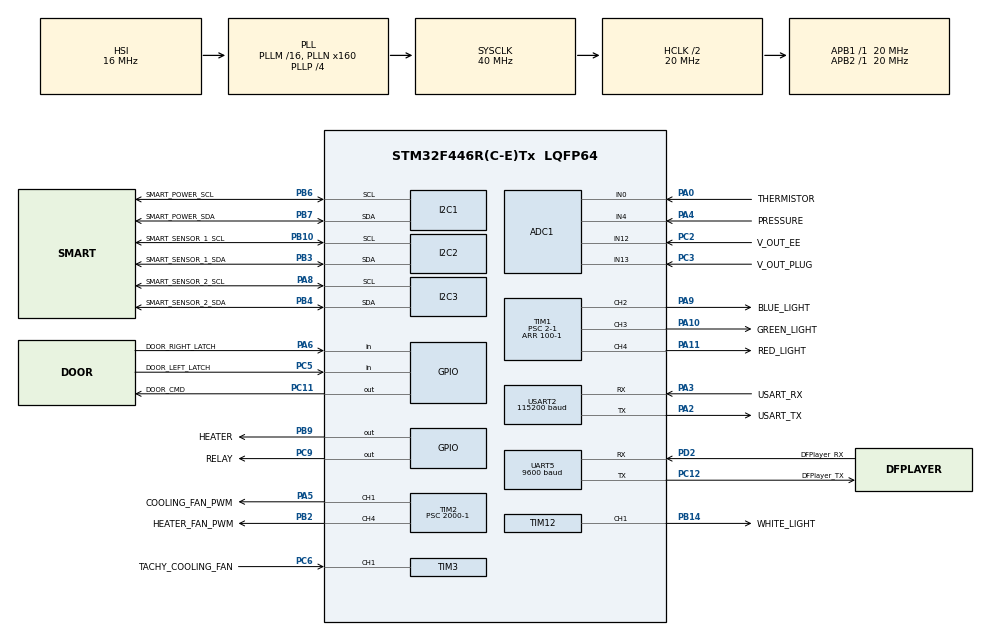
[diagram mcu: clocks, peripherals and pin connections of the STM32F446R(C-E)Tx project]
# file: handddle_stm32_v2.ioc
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ADC1.Channel-1\#ChannelRegularConversion=ADC_CHANNEL_0
ADC1.NbrOfConversionFlag=1
ADC1.Rank-1\#ChannelRegularConversion=1
ADC1.SamplingTime-1\#ChannelRegularConversion=ADC_SAMPLETIME_3CYCLES
ADC1.master=1
Mcu.Family=STM32F4
Mcu.Name=STM32F446R(C-E)Tx
Mcu.Package=LQFP64
NVIC.PriorityGroup=NVIC_PRIORITYGROUP_0
NVIC.TIM1_BRK_TIM9_IRQn=true\:0\:0\:false\:false\:true\:true\:true
NVIC.TIM3_IRQn=true\:0\:0\:false\:false\:true\:true\:true
NVIC.TIM4_IRQn=true\:0\:0\:false\:false\:true\:true\:true
NVIC.TIM5_IRQn=true\:0\:0\:false\:false\:true\:true\:true
NVIC.TIM6_DAC_IRQn=true\:0\:0\:false\:false\:true\:true\:true
NVIC.TIM7_IRQn=true\:0\:0\:false\:false\:true\:true\:true
NVIC.UART5_IRQn=true\:0\:0\:false\:false\:true\:true\:true
NVIC.USART2_IRQn=true\:0\:0\:false\:false\:true\:true\:true
PA0-WKUP.GPIO_Label=THERMISTOR
PA0-WKUP.Signal=ADCx_IN0
PA10.GPIO_Label=GREEN_LIGHT
PA10.Signal=S_TIM1_CH3
PA11.GPIO_Label=RED_LIGHT
PA11.Signal=S_TIM1_CH4
PA2.GPIO_Label=USART_TX
PA2.Mode=Asynchronous
PA2.Signal=USART2_TX
PA3.GPIO_Label=USART_RX
PA3.Mode=Asynchronous
PA3.Signal=USART2_RX
PA4.GPIO_Label=PRESSURE
PA4.Signal=ADCx_IN4
PA5.GPIO_Label=COOLING_FAN_PWM
PA5.Signal=S_TIM2_CH1_ETR
PA6.GPIO_Label=DOOR_RIGHT_LATCH
PA6.Signal=GPIO_Input
PA8.GPIO_Label=SMART_SENSOR_2_SCL
PA8.Mode=I2C
PA8.Signal=I2C3_SCL
PA9.GPIO_Label=BLUE_LIGHT
PA9.Signal=S_TIM1_CH2
PB10.GPIO_Label=SMART_SENSOR_1_SCL
PB10.Mode=I2C
PB10.Signal=I2C2_SCL
PB14.GPIO_Label=WHITE_LIGHT
PB14.Signal=S_TIM12_CH1
PB2.GPIO_Label=HEATER_FAN_PWM
PB2.Signal=S_TIM2_CH4
PB3.GPIO_Label=SMART_SENSOR_1_SDA
PB3.Mode=I2C
PB3.Signal=I2C2_SDA
PB4.GPIO_Label=SMART_SENSOR_2_SDA
PB4.Mode=I2C
PB4.Signal=I2C3_SDA
PB6.GPIO_Label=SMART_POWER_SCL
PB6.Mode=I2C
PB6.Signal=I2C1_SCL
PB7.GPIO_Label=SMART_POWER_SDA
PB7.Mode=I2C
PB7.Signal=I2C1_SDA
PB9.GPIO_Label=HEATER
PB9.Signal=GPIO_Output
PC11.GPIO_Label=DOOR_CMD
PC11.Signal=GPIO_Output
PC12.GPIO_Label=DFPlayer_TX
PC12.Mode=Asynchronous
PC12.Signal=UART5_TX
PC2.GPIO_Label=V_OUT_EE
PC2.Signal=ADCx_IN12
PC3.GPIO_Label=V_OUT_PLUG
PC3.Signal=ADCx_IN13
PC5.GPIO_Label=DOOR_LEFT_LATCH
PC5.Signal=GPIO_Input
PC6.GPIO_Label=TACHY_COOLING_FAN
PC6.Signal=S_TIM3_CH1
PC9.GPIO_Label=RELAY
PC9.Signal=GPIO_Output
PD2.GPIO_Label=DFPlayer_RX
PD2.Mode=Asynchronous
PD2.Signal=UART5_RX
ProjectManager.HeapSize=0x200
ProjectManager.StackSize=0x400
ProjectManager.TargetToolchain=STM32CubeIDE
RCC.48MHZClocksFreq_Value=84000000
RCC.AHBCLKDivider=RCC_SYSCLK_DIV2
RCC.AHBFreq_Value=20000000
RCC.APB1Freq_Value=20000000
RCC.APB1TimFreq_Value=20000000
RCC.APB2Freq_Value=20000000
RCC.APB2TimFreq_Value=20000000
RCC.CortexFreq_Value=20000000
RCC.FLatency-AdvancedSettings=FLASH_LATENCY_0
RCC.HCLKFreq_Value=20000000
RCC.HSE_VALUE=8000000
RCC.HSI_VALUE=16000000
RCC.PLLN=160
RCC.PLLP=RCC_PLLP_DIV4
RCC.SYSCLKFreq_VALUE=40000000
RCC.SYSCLKSource=RCC_SYSCLKSOURCE_PLLCLK
RCC.USBFreq_Value=80000000
RCC.VCOOutputFreq_Value=160000000
SH.ADCx_IN0.0=ADC1_IN0,IN0
SH.ADCx_IN12.0=ADC1_IN12,IN12
SH.ADCx_IN13.0=ADC1_IN13,IN13
SH.ADCx_IN4.0=ADC1_IN4,IN4
SH.S_TIM12_CH1.0=TIM12_CH1,PWM Generation1 CH1
SH.S_TIM1_CH2.0=TIM1_CH2,PWM Generation2 CH2
SH.S_TIM1_CH3.0=TIM1_CH3,PWM Generation3 CH3
SH.S_TIM1_CH4.0=TIM1_CH4,PWM Generation4 CH4
SH.S_TIM2_CH1_ETR.0=TIM2_CH1,PWM Generation1 CH1
SH.S_TIM2_CH4.0=TIM2_CH4,PWM Generation4 CH4
SH.S_TIM3_CH1.0=TIM3_CH1,Input_Capture1_from_TI1
TIM1.Channel-PWM\ Generation2\ CH2=TIM_CHANNEL_2
TIM1.Channel-PWM\ Generation3\ CH3=TIM_CHANNEL_3
TIM1.Channel-PWM\ Generation4\ CH4=TIM_CHANNEL_4
TIM1.Period=100-1
TIM1.Prescaler=2-1
TIM12.Channel-PWM\ Generation1\ CH1=TIM_CHANNEL_1
TIM12.Period=100-1
TIM12.Prescaler=2-1
TIM2.Channel-PWM\ Generation1\ CH1=TIM_CHANNEL_1
TIM2.Channel-PWM\ Generation4\ CH4=TIM_CHANNEL_4
TIM2.Period=100-1
TIM2.Prescaler=2000-1
TIM3.Channel-Input_Capture1_from_TI1=TIM_CHANNEL_1
TIM3.Period=0xFFFF
TIM3.Prescaler=2000-1
TIM4.Period=10000-1
TIM4.Prescaler=2000-1
TIM5.Period=10000-1
TIM5.Prescaler=20-1
TIM6.Period=1000-1
TIM6.Prescaler=20-1
TIM7.Period=10000-1
TIM7.Prescaler=2000-1
TIM9.Period=50000-1
TIM9.Prescaler=20-1
UART5.BaudRate=9600
UART5.VirtualMode=Asynchronous
USART2.BaudRate=115200
USART2.VirtualMode=VM_ASYNC
VP_TIM1_VS_ClockSourceINT.Mode=Internal
VP_TIM4_VS_ClockSourceINT.Mode=Internal
VP_TIM5_VS_ClockSourceINT.Mode=Internal
VP_TIM6_VS_ClockSourceINT.Mode=Enable_Timer
VP_TIM7_VS_ClockSourceINT.Mode=Enable_Timer
VP_TIM9_VS_ClockSourceINT.Mode=Internal
board=NUCLEO-F446RE

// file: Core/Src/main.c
/* USER CODE BEGIN Header */
/**
 ******************************************************************************
 * @file           : main.c
 * @brief          : Main program body
 ******************************************************************************
 * @attention
 *
 * <h2><center>&copy; Copyright (c) 2022 STMicroelectronics.
 * All rights reserved.</center></h2>
 *
 * This software component is licensed by ST under BSD 3-Clause license,
 * the "License"; You may not use this file except in compliance with the
 * License. You may obtain a copy of the License at:
 *                        opensource.org/licenses/BSD-3-Clause
 *
 ******************************************************************************
 */
/* USER CODE END Header */
#include "main.h"

/* USER CODE BEGIN Includes */
#include "defines.h"
#include "functions.h"
#include "extern_variables.h"

#include "../../Transport/Parser/parser.h"
#include "../../Transport/Msg_gen/Sec_msg_gen/sec_msg_gen.h"
#include "../../Transport/Msg_gen/Main_msg_gen/main_msg_gen.h"
#include "../../Transport/Msg_gen/Error_msg_gen/error_msg_gen.h"

#include "../../Lib/Inc/cooling_fan.h"
#include "../../Lib/Inc/heater_fan.h"
#include "../../Lib/Inc/lights.h"
#include "../../Lib/Inc/sound_module.h"
#include "../../Lib/Inc/door.h"
#include "../../Lib/Inc/i2c.h"
#include "../../Lib/Inc/pressure.h"
#include "../../Lib/Inc/thermistor.h"
#include "../../Lib/Inc/gas_index_algorithm.h"
#include "../../Lib/Inc/relay.h"
#include "../../Lib/Inc/current.h"
//#include "../../Lib/Inc/ACS.h"
/* USER CODE END Includes */

ADC_HandleTypeDef hadc1;

I2C_HandleTypeDef hi2c1;
I2C_HandleTypeDef hi2c2;
I2C_HandleTypeDef hi2c3;

TIM_HandleTypeDef htim1;
TIM_HandleTypeDef htim2;
TIM_HandleTypeDef htim3;
TIM_HandleTypeDef htim4;
TIM_HandleTypeDef htim5;
TIM_HandleTypeDef htim6;
TIM_HandleTypeDef htim7;
TIM_HandleTypeDef htim9;
TIM_HandleTypeDef htim12;

UART_HandleTypeDef huart5;
UART_HandleTypeDef huart2;

void SystemClock_Config(void);
static void MX_GPIO_Init(void);
static void MX_USART2_UART_Init(void);
static void MX_TIM4_Init(void);
static void MX_TIM2_Init(void);
static void MX_TIM3_Init(void);
static void MX_TIM1_Init(void);
static void MX_TIM12_Init(void);
static void MX_UART5_Init(void);
static void MX_TIM7_Init(void);
static void MX_ADC1_Init(void);
static void MX_I2C1_Init(void);
static void MX_TIM9_Init(void);
static void MX_I2C2_Init(void);
static void MX_I2C3_Init(void);
static void MX_TIM5_Init(void);
static void MX_TIM6_Init(void);

/* USER CODE BEGIN 0 */

// Buffer used to store received bytes from the Jetson card
uint8_t rx_buffer[MSG_SIZE];

// Buffer used with the sound module
uint8_t rx_buffer2[MSG_SIZE];

uint64_t last_watchdog_time = 0;
bool watchdog_actived = false; 	//extern
bool watchdog_update = false;	//extern
bool var_toggle = false;

// Variable used to be increment at each tick of timer 4 (main)
uint64_t var_timer_4_tick = 0;
// Variable used to be increment at each tick of timer 7 (door)
uint64_t var_timer_7_tick = 0;
// Variable used to be true at each tick of timer 9 (50ms)
bool var_timer_9_tick = 0;

//send messages
bool send_messages = false;
bool get_i2c_values = false;

//fans
uint8_t pwm_cooling_fan = 0;
uint8_t pwm_heater_fan = 0;
int cooling_frq;// for PWM of fans
int cooling_rpm;// for PWM of fans

//light color
uint8_t led_color = 0;
uint8_t previous_led_color = 0;
uint8_t led_color_buffer = 0;
bool fade_on = false;
bool previous_fade_on = false;
bool static_light = true;

//sound module
//extern
bool sm_next = false;
bool sm_pause = false;
bool sm_stop = false;
bool sm_playback = false;
bool sm_previous = false;
uint8_t sm_volume = 20; // default volume
uint8_t previous_sm_volume = 0;
uint8_t sm_eq = 0;
uint8_t previous_sm_eq;
uint8_t sm_track = 0;
uint8_t previous_sm_track = 0;
bool sm_repeat = false;

bool uart2_irq_is_captured = false;
bool uart5_irq_is_captured = false;

//door
bool door_init;
bool door_state;
bool previous_door_state;
bool door_closure = false;
bool door_opening = false;
bool left_latch_error, right_latch_error;
bool left_latch_state, right_latch_state;

//thermistor
ntc_thermistor_values ntc_values;
uint16_t adc_temperature_raw_value;

//pressure
uint16_t pressure = 0;

//temperature, humidity : Smart Power
struct_sht40 temp_humi_SP;

//temperature, humidity : Smart Sensor n°1
struct_sht40 temp_humi_SS_1;

//temperature, humidity : Smart Sensor n°2
struct_sht40 temp_humi_SS_2;

//SEN5X datas : PM1, PM2.5, PM4, PM10, Temperature, Humidity, VOC Index and NOx Index
struct_sen5x sen5x_values;

//UART return value
HAL_StatusTypeDef return_value_SP, return_value_SS_1, return_value_SS_2, return_value_sen_5x;

//temperature
uint8_t desired_temperature = 0;
bool heater_activated = false;
float average_temperature = 0, average_humidity = 0;

//Sgp41
HAL_StatusTypeDef sgp41_return_value;
struct_sgp41 pollution_data;
GasIndexAlgorithmParams params_voc;
GasIndexAlgorithmParams params_nox;
int32_t voc_index_value;
int32_t nox_index_value;
uint16_t sraw_voc;
uint16_t sraw_nox;
uint8_t sgp41_timer_init = 0;
uint8_t sgp41_timer_feeding = 0;
bool sgp41_tick = true;

//relay
bool relay_command = RELAY_ON;

//Sytem
bool system_on_off = SYSTEM_ON;
uint8_t led_color_system_off = DARK;

/* USER CODE END 0 */

int main(void)
{

	/* MCU Configuration--------------------------------------------------------*/

	/* Reset of all peripherals, Initializes the Flash interface and the Systick. */
	HAL_Init();

	/* Configure the system clock */
	SystemClock_Config();

	/* Initialize all configured peripherals */
	MX_GPIO_Init();
	MX_USART2_UART_Init();
	MX_TIM4_Init();
	MX_TIM2_Init();
	MX_TIM3_Init();
	MX_TIM1_Init();
	MX_TIM12_Init();
	MX_UART5_Init();
	MX_TIM7_Init();
	MX_ADC1_Init();
	MX_I2C1_Init();
	MX_TIM9_Init();
	MX_I2C2_Init();
	MX_I2C3_Init();
	MX_TIM5_Init();
	MX_TIM6_Init();
	/* USER CODE BEGIN 2 */

	/*     SMART LIGHT    */
	//RED -- TIMER 1 CH4
	HAL_TIM_PWM_Start(&htim1, TIM_CHANNEL_4);
	//GREEN -- TIMER 1 CH3
	HAL_TIM_PWM_Start(&htim1, TIM_CHANNEL_3);
	//BLUE TIMER 1 CH2
	HAL_TIM_PWM_Start(&htim1, TIM_CHANNEL_2);
	//WHITE -- TIMER 12 - CH1
	HAL_TIM_PWM_Start(&htim12, TIM_CHANNEL_1);

	//Timers for PWM
	HAL_TIM_PWM_Start(&htim2, TIM_CHANNEL_1); // For PWM cooling fan
	HAL_TIM_PWM_Start(&htim2, TIM_CHANNEL_4); // For PWM heater fan
	HAL_TIM_IC_Start_IT(&htim3, TIM_CHANNEL_1); // To get tachymeter frequency

	set_cooling_fan_pwm(PWM_STOP, &htim2);
	set_heater_fan_pwm(PWM_STOP, &htim2);

	// Main timer ticks each second
	HAL_TIM_Base_Start_IT(&htim4);

	// Timer ticks each 10ms
	HAL_TIM_Base_Start_IT(&htim5);

	// Timer ticks each 1 ms
	HAL_TIM_Base_Start_IT(&htim6);

	// Timer ticks each 50ms (i2c)
	//  HAL_TIM_Base_Start_IT(&htim9);

	// Start UART reception
	HAL_UART_Receive_IT(&huart2, rx_buffer, MSG_SIZE);
	HAL_UART_Receive_IT(&huart5, rx_buffer2, MSG_SIZE);
	//Ack value send to the Jetson Nano
	send_cmd_ack_with_value(&huart2, DEFAULT_ACK_VALUE);

	// Led color
	if((MSG_HEADER_UID_1_TYPOLOGY == TYPE_MACHINE_RACK) || (MSG_HEADER_UID_1_TYPOLOGY == TYPE_MACHINE_ROOF))
	{
		led_color = WHITE;
		previous_led_color = WHITE;
		led_color_buffer = WHITE;
	} else if(MSG_HEADER_UID_1_TYPOLOGY == TYPE_POST_TREATMENT)
	{
		led_color =  WHITE_PT;
		previous_led_color = WHITE_PT;
		led_color_buffer = WHITE_PT;
	}

	send_main_msg_led_color(led_color, &huart2);

	//sound module
	//local
	previous_sm_volume = sm_volume;
	previous_sm_eq = sm_eq;
	previous_sm_track = sm_track;
	sm_init(sm_volume);

	//door
	if(MSG_HEADER_UID_1_TYPOLOGY == TYPE_MACHINE_ROOF || MSG_HEADER_UID_1_TYPOLOGY == TYPE_POST_TREATMENT)
	{
		door_command = LOCKED;
		set_door_lock(door_command); //default: door opened

		if(get_latches_state() == PRESENT)
		{
			door_state = CLOSED;
			previous_door_state = CLOSED;
			door_init = false;
		} else
		{
			door_state = OPENED;
			previous_door_state = OPENED;
			door_init = true;
		}

		send_main_msg_door_state(door_state, &huart2);
	}

	//sgp41 INIT
	GasIndexAlgorithm_init(&params_voc, GasIndexAlgorithm_ALGORITHM_TYPE_VOC);
	GasIndexAlgorithm_init(&params_nox, GasIndexAlgorithm_ALGORITHM_TYPE_NOX);

	//relay : default always activate
	set_relay_on(relay_command);

	write_frame_sen5x(&hi2c2, SEN5X_COMMAND_START_MEASUREMENT);

	/* USER CODE END 2 */

	/* Infinite loop */
	/* USER CODE BEGIN WHILE */
	while (1)
	{
		/*
		 * SYSTEM
		 */
		if(system_on_off == SYSTEM_ON)
		{
			/*
			 * 		Apply functions
			 */
			set_cooling_fan_pwm(pwm_cooling_fan, &htim2);
			set_heater_fan_pwm(pwm_heater_fan, &htim2);
			set_heater(heater_activated);
			if(static_light) set_lights(led_color);
			else if(!static_light && fade_on)
			{
				fade_on = false;
				fade(led_color);
			}
			set_door_lock(door_command);
			if(MSG_HEADER_UID_1_TYPOLOGY == TYPE_MACHINE_ROOF || MSG_HEADER_UID_1_TYPOLOGY == TYPE_POST_TREATMENT) door_cycle(true);

			if(heater_activated && desired_temperature >= DESIRED_TEMP_MIN && desired_temperature <= DESIRED_TEMP_MAX)
			{
				if( ( (MSG_HEADER_UID_1_TYPOLOGY == TYPE_MACHINE_ROOF || MSG_HEADER_UID_1_TYPOLOGY == TYPE_POST_TREATMENT) && door_state == CLOSED) || MSG_HEADER_UID_1_TYPOLOGY == TYPE_MACHINE_RACK)
					set_temperature(desired_temperature, temp_humi_SP.temperature, temp_humi_SS_1.temperature);
			} else
			{
				heater_activated = false;
				pwm_heater_fan = PWM_HEATER_30;
			}

			set_relay_on(relay_command);

			/*
			 * 		Assign variables
			 */

			//SEND door state
			if(previous_door_state != door_state)
			{
				send_main_msg_door_state(door_state, &huart2);

				previous_door_state = door_state;

				if(door_state == OPENED)
				{
					door_opening = true;
				} else if(door_state == CLOSED)
				{
					door_closure = true;
				}
			}

			if(led_color_buffer != led_color) // Store previous led color
			{
				previous_led_color = led_color_buffer;
				led_color_buffer = led_color;
	}

			/*
			 * 	Reading Datas
			 */
			if(uart2_irq_is_captured == true)
			{
				uart2_irq_is_captured = false;
				parser(rx_buffer,&huart2);
				memset(rx_buffer, ZERO, sizeof(rx_buffer));
				HAL_UART_Receive_IT(&huart2, rx_buffer, MSG_SIZE);
			}

			if(uart5_irq_is_captured == true)
			{
				uart5_irq_is_captured = false;
				parser(rx_buffer2,&huart2);
				memset(rx_buffer2, ZERO, sizeof(rx_buffer2));
				HAL_UART_Receive_IT(&huart5, rx_buffer2, MSG_SIZE);
			}

			if(get_i2c_values)
			{
				get_i2c_values = false;

				/* SmartSensor */
				return_value_SP = write_frame_temp_humi_sht40(&hi2c1);
				return_value_SS_1 = write_frame_temp_humi_sht40(&hi2c2);
				return_value_SS_2 = write_frame_temp_humi_sht40(&hi2c3);
				return_value_sen_5x = write_frame_sen5x(&hi2c2, SEN5X_COMMAND_READ_ALL_VALUES);

				/* SGP41 */
				if(sgp41_timer_init >= SGP41_CONDITIONNING_TIME) //if init is finished
					sgp41_return_value = sgp41_send_command(&hi2c2, SGP41_MEASUREMENT_COMMAND, average_temperature, average_humidity);

				HAL_TIM_Base_Start_IT(&htim9); // Start this timer to get all i2c values
			}

			if(var_timer_9_tick)	  //the timer 9 start if get_i2c_values = true and tick 50ms after that all frames are sent.
			{							//Then the timer is stopped and we get all the temperatures
				var_timer_9_tick = false;
				HAL_TIM_Base_Stop_IT(&htim9);

				temp_humi_SP = read_temp_humi_sht40(&hi2c1);
				temp_humi_SS_1 = read_temp_humi_sht40(&hi2c2);
				temp_humi_SS_2 = read_temp_humi_sht40(&hi2c3);

				// if init is finished and i2c communication is established
				if(sgp41_timer_init >= SGP41_CONDITIONNING_TIME && sgp41_return_value == HAL_OK)
				{
					pollution_data = sgp41_receive_raw_datas(&hi2c2);

					GasIndexAlgorithm_process(&params_nox, pollution_data.sraw_nox, &nox_index_value);
					GasIndexAlgorithm_process(&params_voc, pollution_data.sraw_voc, &voc_index_value);
				}

				sen5x_values = read_datas_sen5x(&hi2c2);
			}

			cooling_frq = get_cooling_frequency();
			cooling_rpm = get_cooling_rpm();
			adc_temperature_raw_value = reading_adc_channel_0();
			ntc_values = applying_coefficients(adc_temperature_raw_value);
			ntc_values.temperatureC = temperature_calculation(ntc_values);
			if(MSG_HEADER_UID_1_TYPOLOGY == TYPE_MACHINE_ROOF || MSG_HEADER_UID_1_TYPOLOGY == TYPE_POST_TREATMENT) door_state = get_latches_state();

			//Initialization of sgp41
			if(sgp41_tick && sgp41_timer_init < SGP41_CONDITIONNING_TIME)
			{
				sgp41_tick = false;
				sgp41_timer_init += ONE;

				sgp41_return_value = sgp41_send_command(&hi2c2, SGP41_INITIALIZATION_COMMAND, SGP41_INIT_TEMPERATURE, SGP41_INIT_HUMIDITY);
			}

			//Average temperature and humidity
			average_humidity = (temp_humi_SP.humidity + temp_humi_SS_1.humidity) / (float)TWO;
			average_temperature = (temp_humi_SP.temperature + temp_humi_SS_1.temperature) / (float)TWO;

			//door latches
			left_latch_state = get_door_left_latch_state();
			right_latch_state = get_door_right_latch_state();

			//pressure
			pressure = get_pressure();

			/*
			 * 		Sending datas
			 */
			if(send_messages == true)
			{
				send_messages = false;

				send_sec_msg_air_extraction_tachymeter(cooling_rpm, &huart2);
				send_sec_msg_ee_temperature(ntc_values.temperatureC, &huart2);
				send_main_msg_pressure(pressure, &huart2);

				//Smart Light
				if(previous_led_color != led_color)
				{
					send_main_msg_led_color(led_color, &huart2);
				}

				// Smart Power
				if(return_value_SP == HAL_OK && temp_humi_SP.error_status == false)
				{
					send_main_msg_humidity(temp_humi_SP.humidity, MAIN_MSG_HUMIDITY_SP, &huart2);
					send_main_msg_temperature(temp_humi_SP.temperature, MAIN_MSG_TEMPERATURE_SP, &huart2);
				}

				// Smart Sensor 1
				if(return_value_SS_1 == HAL_OK && temp_humi_SS_1.error_status == false)
				{
					send_main_msg_humidity(temp_humi_SS_1.humidity, MAIN_MSG_HUMIDITY_SS_1, &huart2);
					send_main_msg_temperature(temp_humi_SS_1.temperature, MAIN_MSG_TEMPERATURE_SS_1, &huart2);
				}

				// Smart Sensor 2
				if(MSG_HEADER_UID_1_TYPOLOGY == TYPE_MACHINE_ROOF &&
						return_value_SS_2 == HAL_OK && temp_humi_SS_2.error_status == false)
				{
					send_main_msg_humidity(temp_humi_SS_2.humidity, MAIN_MSG_HUMIDITY_SS_2, &huart2);
					send_main_msg_temperature(temp_humi_SS_2.temperature, MAIN_MSG_TEMPERATURE_SS_2, &huart2);
				}

				//SGP41
				if(var_timer_4_tick > (SGP41_CONDITIONNING_TIME + SGP41_SRAW_FEEDING_TIME))
				{
					send_main_msg_nox(nox_index_value, &huart2);
					send_main_msg_voc(voc_index_value, &huart2);
				}

				//Relay
				send_main_msg_relay(relay_command, &huart2);

				// SEN5X
				if(MSG_HEADER_UID_1_TYPOLOGY != TYPE_SOURCE_MATERIAL && return_value_sen_5x == HAL_OK)
				{
					send_main_msg_humidity(sen5x_values.humidity, MAIN_MSG_HUMIDITY_SEN5X, &huart2);
					send_main_msg_temperature(sen5x_values.temperature, MAIN_MSG_TEMPERATURE_SEN5X, &huart2);
					send_main_msg_pm1(sen5x_values.pm1, &huart2);
					send_main_msg_pm2_5(sen5x_values.pm2_5, &huart2);
					send_main_msg_pm4(sen5x_values.pm4, &huart2);
					send_main_msg_pm10(sen5x_values.pm10, &huart2);
					send_main_msg_nox(sen5x_values.nox_index, &huart2);
					send_main_msg_voc(sen5x_values.voc_index, &huart2);
				}

				//Error messages
				if(left_latch_error)
				{
					left_latch_error = false;
					send_error_msg_left_latch(&huart2);
				}
				if(right_latch_error)
				{
					right_latch_error = false;
					send_error_msg_right_latch(&huart2);
				}
				if(return_value_SP == HAL_ERROR || return_value_SP == HAL_BUSY || temp_humi_SP.error_status == true)
				{
					send_error_msg_i2c_smart_power(&huart2);
				}
				if(return_value_SS_1 == HAL_ERROR || return_value_SS_1 == HAL_BUSY || temp_humi_SS_1.error_status == true)
				{
					send_error_msg_i2c_smart_sensor_1(&huart2);
				}
				if(return_value_SS_2 == HAL_ERROR || return_value_SS_2 == HAL_BUSY || temp_humi_SS_2.error_status == true)
				{
					send_error_msg_i2c_smart_sensor_2(&huart2);
					if(return_value_sen_5x == HAL_ERROR)
					{
						// ERROR
}
				}

				/*
				 * 		Watchdog
				 */
				if(watchdog_actived == true)
				{
					watchdog_actived = false;
					HAL_NVIC_SystemReset();
				}

				if(watchdog_update == true)
				{
					watchdog_update = false;
					update_last_watchdog_time();
				}
			}
		} else
		{
			set_cooling_fan_pwm(PWM_STOP, &htim2);
			set_heater_fan_pwm(PWM_STOP, &htim2);
			set_heater(false);
			set_lights(led_color_system_off);
			set_relay_on(RELAY_OFF);
		}

		/*
		 * 		Sound module
		 */
		if(sm_next)
		{
			sm_next = false;
			sm_next_track();
		}
		if(sm_pause)
		{
			sm_pause = false;
			sm_pause_track();
		}
		if(sm_stop)
		{
			sm_stop = false;
			sm_stop_track();
		}
		if(sm_previous)
		{
			sm_previous = false;
			sm_previous_track();
		}

		if(sm_repeat)
		{
			sm_repeat_track(sm_repeat);
			sm_repeat = false;
		}

		if(sm_playback)
		{
			sm_playback = false;
			sm_playback_track();
		}

		if(previous_sm_volume != sm_volume)
		{
			sm_change_volume(sm_volume);
			previous_sm_volume = sm_volume;
		}

		if(previous_sm_eq != sm_eq)
		{
			sm_select_eq(sm_eq);
			previous_sm_eq = sm_eq;
		}

		if(previous_sm_track != sm_track)
		{
			sm_select_track(sm_track);
			previous_sm_track = sm_track;
		}
		/* USER CODE END WHILE */

	}
}

void SystemClock_Config(void)
{
	RCC_OscInitTypeDef RCC_OscInitStruct = {0};
	RCC_ClkInitTypeDef RCC_ClkInitStruct = {0};

	/** Configure the main internal regulator output voltage
	 */
	__HAL_RCC_PWR_CLK_ENABLE();
	__HAL_PWR_VOLTAGESCALING_CONFIG(PWR_REGULATOR_VOLTAGE_SCALE3);
	/** Initializes the RCC Oscillators according to the specified parameters
	 * in the RCC_OscInitTypeDef structure.
	 */
	RCC_OscInitStruct.OscillatorType = RCC_OSCILLATORTYPE_HSI;
	RCC_OscInitStruct.HSIState = RCC_HSI_ON;
	RCC_OscInitStruct.HSICalibrationValue = RCC_HSICALIBRATION_DEFAULT;
	RCC_OscInitStruct.PLL.PLLState = RCC_PLL_ON;
	RCC_OscInitStruct.PLL.PLLSource = RCC_PLLSOURCE_HSI;
	RCC_OscInitStruct.PLL.PLLM = 16;
	RCC_OscInitStruct.PLL.PLLN = 160;
	RCC_OscInitStruct.PLL.PLLP = RCC_PLLP_DIV4;
	RCC_OscInitStruct.PLL.PLLQ = 2;
	RCC_OscInitStruct.PLL.PLLR = 2;
	if (HAL_RCC_OscConfig(&RCC_OscInitStruct) != HAL_OK)
	{
		Error_Handler();
	}
	/** Initializes the CPU, AHB and APB buses clocks
	 */
	RCC_ClkInitStruct.ClockType = RCC_CLOCKTYPE_HCLK|RCC_CLOCKTYPE_SYSCLK
			|RCC_CLOCKTYPE_PCLK1|RCC_CLOCKTYPE_PCLK2;
	RCC_ClkInitStruct.SYSCLKSource = RCC_SYSCLKSOURCE_PLLCLK;
	RCC_ClkInitStruct.AHBCLKDivider = RCC_SYSCLK_DIV2;
	RCC_ClkInitStruct.APB1CLKDivider = RCC_HCLK_DIV1;
	RCC_ClkInitStruct.APB2CLKDivider = RCC_HCLK_DIV1;

	if (HAL_RCC_ClockConfig(&RCC_ClkInitStruct, FLASH_LATENCY_0) != HAL_OK)
	{
		Error_Handler();
	}
}

static void MX_ADC1_Init(void)
{

	ADC_ChannelConfTypeDef sConfig = {0};

	/** Configure the global features of the ADC (Clock, Resolution, Data Alignment and number of conversion)
	 */
	hadc1.Instance = ADC1;
	hadc1.Init.ClockPrescaler = ADC_CLOCK_SYNC_PCLK_DIV2;
	hadc1.Init.Resolution = ADC_RESOLUTION_12B;
	hadc1.Init.ScanConvMode = DISABLE;
	hadc1.Init.ContinuousConvMode = DISABLE;
	hadc1.Init.DiscontinuousConvMode = DISABLE;
	hadc1.Init.ExternalTrigConvEdge = ADC_EXTERNALTRIGCONVEDGE_NONE;
	hadc1.Init.ExternalTrigConv = ADC_SOFTWARE_START;
	hadc1.Init.DataAlign = ADC_DATAALIGN_RIGHT;
	hadc1.Init.NbrOfConversion = 1;
	hadc1.Init.DMAContinuousRequests = DISABLE;
	hadc1.Init.EOCSelection = ADC_EOC_SINGLE_CONV;
	if (HAL_ADC_Init(&hadc1) != HAL_OK)
	{
		Error_Handler();
	}
	/** Configure for the selected ADC regular channel its corresponding rank in the sequencer and its sample time.
	 */
	sConfig.Channel = ADC_CHANNEL_0;
	sConfig.Rank = 1;
	sConfig.SamplingTime = ADC_SAMPLETIME_3CYCLES;
	if (HAL_ADC_ConfigChannel(&hadc1, &sConfig) != HAL_OK)
	{
		Error_Handler();
	}

}

static void MX_I2C1_Init(void)
{

	hi2c1.Instance = I2C1;
	hi2c1.Init.ClockSpeed = 100000;
	hi2c1.Init.DutyCycle = I2C_DUTYCYCLE_2;
	hi2c1.Init.OwnAddress1 = 0;
	hi2c1.Init.AddressingMode = I2C_ADDRESSINGMODE_7BIT;
	hi2c1.Init.DualAddressMode = I2C_DUALADDRESS_DISABLE;
	hi2c1.Init.OwnAddress2 = 0;
	hi2c1.Init.GeneralCallMode = I2C_GENERALCALL_DISABLE;
	hi2c1.Init.NoStretchMode = I2C_NOSTRETCH_DISABLE;
	if (HAL_I2C_Init(&hi2c1) != HAL_OK)
	{
		Error_Handler();
	}

}

static void MX_I2C2_Init(void)
{

	hi2c2.Instance = I2C2;
	hi2c2.Init.ClockSpeed = 100000;
	hi2c2.Init.DutyCycle = I2C_DUTYCYCLE_2;
	hi2c2.Init.OwnAddress1 = 0;
	hi2c2.Init.AddressingMode = I2C_ADDRESSINGMODE_7BIT;
	hi2c2.Init.DualAddressMode = I2C_DUALADDRESS_DISABLE;
	hi2c2.Init.OwnAddress2 = 0;
	hi2c2.Init.GeneralCallMode = I2C_GENERALCALL_DISABLE;
	hi2c2.Init.NoStretchMode = I2C_NOSTRETCH_DISABLE;
	if (HAL_I2C_Init(&hi2c2) != HAL_OK)
	{
		Error_Handler();
	}

}

static void MX_I2C3_Init(void)
{

	hi2c3.Instance = I2C3;
	hi2c3.Init.ClockSpeed = 100000;
	hi2c3.Init.DutyCycle = I2C_DUTYCYCLE_2;
	hi2c3.Init.OwnAddress1 = 0;
	hi2c3.Init.AddressingMode = I2C_ADDRESSINGMODE_7BIT;
	hi2c3.Init.DualAddressMode = I2C_DUALADDRESS_DISABLE;
	hi2c3.Init.OwnAddress2 = 0;
	hi2c3.Init.GeneralCallMode = I2C_GENERALCALL_DISABLE;
	hi2c3.Init.NoStretchMode = I2C_NOSTRETCH_DISABLE;
	if (HAL_I2C_Init(&hi2c3) != HAL_OK)
	{
		Error_Handler();
	}

}

static void MX_TIM1_Init(void)
{

	TIM_ClockConfigTypeDef sClockSourceConfig = {0};
	TIM_MasterConfigTypeDef sMasterConfig = {0};
	TIM_OC_InitTypeDef sConfigOC = {0};
	TIM_BreakDeadTimeConfigTypeDef sBreakDeadTimeConfig = {0};

	htim1.Instance = TIM1;
	htim1.Init.Prescaler = 2-1;
	htim1.Init.CounterMode = TIM_COUNTERMODE_UP;
	htim1.Init.Period = 100-1;
	htim1.Init.ClockDivision = TIM_CLOCKDIVISION_DIV1;
	htim1.Init.RepetitionCounter = 0;
	htim1.Init.AutoReloadPreload = TIM_AUTORELOAD_PRELOAD_DISABLE;
	if (HAL_TIM_Base_Init(&htim1) != HAL_OK)
	{
		Error_Handler();
	}
	sClockSourceConfig.ClockSource = TIM_CLOCKSOURCE_INTERNAL;
	if (HAL_TIM_ConfigClockSource(&htim1, &sClockSourceConfig) != HAL_OK)
	{
		Error_Handler();
	}
	if (HAL_TIM_PWM_Init(&htim1) != HAL_OK)
	{
		Error_Handler();
	}
	sMasterConfig.MasterOutputTrigger = TIM_TRGO_RESET;
	sMasterConfig.MasterSlaveMode = TIM_MASTERSLAVEMODE_DISABLE;
	if (HAL_TIMEx_MasterConfigSynchronization(&htim1, &sMasterConfig) != HAL_OK)
	{
		Error_Handler();
	}
	sConfigOC.OCMode = TIM_OCMODE_PWM1;
	sConfigOC.Pulse = 0;
	sConfigOC.OCPolarity = TIM_OCPOLARITY_HIGH;
	sConfigOC.OCNPolarity = TIM_OCNPOLARITY_HIGH;
	sConfigOC.OCFastMode = TIM_OCFAST_DISABLE;
	sConfigOC.OCIdleState = TIM_OCIDLESTATE_RESET;
	sConfigOC.OCNIdleState = TIM_OCNIDLESTATE_RESET;
	if (HAL_TIM_PWM_ConfigChannel(&htim1, &sConfigOC, TIM_CHANNEL_2) != HAL_OK)
	{
		Error_Handler();
	}
	if (HAL_TIM_PWM_ConfigChannel(&htim1, &sConfigOC, TIM_CHANNEL_3) != HAL_OK)
	{
		Error_Handler();
	}
	if (HAL_TIM_PWM_ConfigChannel(&htim1, &sConfigOC, TIM_CHANNEL_4) != HAL_OK)
	{
		Error_Handler();
	}
	sBreakDeadTimeConfig.OffStateRunMode = TIM_OSSR_DISABLE;
	sBreakDeadTimeConfig.OffStateIDLEMode = TIM_OSSI_DISABLE;
	sBreakDeadTimeConfig.LockLevel = TIM_LOCKLEVEL_OFF;
	sBreakDeadTimeConfig.DeadTime = 0;
	sBreakDeadTimeConfig.BreakState = TIM_BREAK_DISABLE;
	sBreakDeadTimeConfig.BreakPolarity = TIM_BREAKPOLARITY_HIGH;
	sBreakDeadTimeConfig.AutomaticOutput = TIM_AUTOMATICOUTPUT_DISABLE;
	if (HAL_TIMEx_ConfigBreakDeadTime(&htim1, &sBreakDeadTimeConfig) != HAL_OK)
	{
		Error_Handler();
	}
	HAL_TIM_MspPostInit(&htim1);

}

static void MX_TIM2_Init(void)
{

	TIM_MasterConfigTypeDef sMasterConfig = {0};
	TIM_OC_InitTypeDef sConfigOC = {0};

	htim2.Instance = TIM2;
	htim2.Init.Prescaler = 2000-1;
	htim2.Init.CounterMode = TIM_COUNTERMODE_UP;
	htim2.Init.Period = 100-1;
	htim2.Init.ClockDivision = TIM_CLOCKDIVISION_DIV1;
	htim2.Init.AutoReloadPreload = TIM_AUTORELOAD_PRELOAD_DISABLE;
	if (HAL_TIM_PWM_Init(&htim2) != HAL_OK)
	{
		Error_Handler();
	}
	sMasterConfig.MasterOutputTrigger = TIM_TRGO_RESET;
	sMasterConfig.MasterSlaveMode = TIM_MASTERSLAVEMODE_DISABLE;
	if (HAL_TIMEx_MasterConfigSynchronization(&htim2, &sMasterConfig) != HAL_OK)
	{
		Error_Handler();
	}
	sConfigOC.OCMode = TIM_OCMODE_PWM1;
	sConfigOC.Pulse = 0;
	sConfigOC.OCPolarity = TIM_OCPOLARITY_HIGH;
	sConfigOC.OCFastMode = TIM_OCFAST_DISABLE;
	if (HAL_TIM_PWM_ConfigChannel(&htim2, &sConfigOC, TIM_CHANNEL_1) != HAL_OK)
	{
		Error_Handler();
	}
	if (HAL_TIM_PWM_ConfigChannel(&htim2, &sConfigOC, TIM_CHANNEL_4) != HAL_OK)
	{
		Error_Handler();
	}
	HAL_TIM_MspPostInit(&htim2);

}

static void MX_TIM3_Init(void)
{

	TIM_MasterConfigTypeDef sMasterConfig = {0};
	TIM_IC_InitTypeDef sConfigIC = {0};

	htim3.Instance = TIM3;
	htim3.Init.Prescaler = 2000-1;
	htim3.Init.CounterMode = TIM_COUNTERMODE_UP;
	htim3.Init.Period = 0xFFFF;
	htim3.Init.ClockDivision = TIM_CLOCKDIVISION_DIV1;
	htim3.Init.AutoReloadPreload = TIM_AUTORELOAD_PRELOAD_DISABLE;
	if (HAL_TIM_IC_Init(&htim3) != HAL_OK)
	{
		Error_Handler();
	}
	sMasterConfig.MasterOutputTrigger = TIM_TRGO_RESET;
	sMasterConfig.MasterSlaveMode = TIM_MASTERSLAVEMODE_DISABLE;
	if (HAL_TIMEx_MasterConfigSynchronization(&htim3, &sMasterConfig) != HAL_OK)
	{
		Error_Handler();
	}
	sConfigIC.ICPolarity = TIM_INPUTCHANNELPOLARITY_RISING;
	sConfigIC.ICSelection = TIM_ICSELECTION_DIRECTTI;
	sConfigIC.ICPrescaler = TIM_ICPSC_DIV1;
	sConfigIC.ICFilter = 0;
	if (HAL_TIM_IC_ConfigChannel(&htim3, &sConfigIC, TIM_CHANNEL_1) != HAL_OK)
	{
		Error_Handler();
	}

}

static void MX_TIM4_Init(void)
{

	TIM_ClockConfigTypeDef sClockSourceConfig = {0};
	TIM_MasterConfigTypeDef sMasterConfig = {0};

	htim4.Instance = TIM4;
	htim4.Init.Prescaler = 2000-1;
	htim4.Init.CounterMode = TIM_COUNTERMODE_UP;
	htim4.Init.Period = 10000-1;
	htim4.Init.ClockDivision = TIM_CLOCKDIVISION_DIV1;
	htim4.Init.AutoReloadPreload = TIM_AUTORELOAD_PRELOAD_DISABLE;
	if (HAL_TIM_Base_Init(&htim4) != HAL_OK)
	{
		Error_Handler();
	}
	sClockSourceConfig.ClockSource = TIM_CLOCKSOURCE_INTERNAL;
	if (HAL_TIM_ConfigClockSource(&htim4, &sClockSourceConfig) != HAL_OK)
	{
		Error_Handler();
	}
	sMasterConfig.MasterOutputTrigger = TIM_TRGO_RESET;
	sMasterConfig.MasterSlaveMode = TIM_MASTERSLAVEMODE_DISABLE;
	if (HAL_TIMEx_MasterConfigSynchronization(&htim4, &sMasterConfig) != HAL_OK)
	{
		Error_Handler();
	}

}

static void MX_TIM5_Init(void)
{

	TIM_ClockConfigTypeDef sClockSourceConfig = {0};
	TIM_MasterConfigTypeDef sMasterConfig = {0};

	htim5.Instance = TIM5;
	htim5.Init.Prescaler = 20-1;
	htim5.Init.CounterMode = TIM_COUNTERMODE_UP;
	htim5.Init.Period = 10000-1;
	htim5.Init.ClockDivision = TIM_CLOCKDIVISION_DIV1;
	htim5.Init.AutoReloadPreload = TIM_AUTORELOAD_PRELOAD_DISABLE;
	if (HAL_TIM_Base_Init(&htim5) != HAL_OK)
	{
		Error_Handler();
	}
	sClockSourceConfig.ClockSource = TIM_CLOCKSOURCE_INTERNAL;
	if (HAL_TIM_ConfigClockSource(&htim5, &sClockSourceConfig) != HAL_OK)
	{
		Error_Handler();
	}
	sMasterConfig.MasterOutputTrigger = TIM_TRGO_RESET;
	sMasterConfig.MasterSlaveMode = TIM_MASTERSLAVEMODE_DISABLE;
	if (HAL_TIMEx_MasterConfigSynchronization(&htim5, &sMasterConfig) != HAL_OK)
	{
		Error_Handler();
	}

}

static void MX_TIM6_Init(void)
{

	TIM_MasterConfigTypeDef sMasterConfig = {0};

	htim6.Instance = TIM6;
	htim6.Init.Prescaler = 20-1;
	htim6.Init.CounterMode = TIM_COUNTERMODE_UP;
	htim6.Init.Period = 1000-1;
	htim6.Init.AutoReloadPreload = TIM_AUTORELOAD_PRELOAD_DISABLE;
	if (HAL_TIM_Base_Init(&htim6) != HAL_OK)
	{
		Error_Handler();
	}
	sMasterConfig.MasterOutputTrigger = TIM_TRGO_RESET;
	sMasterConfig.MasterSlaveMode = TIM_MASTERSLAVEMODE_DISABLE;
	if (HAL_TIMEx_MasterConfigSynchronization(&htim6, &sMasterConfig) != HAL_OK)
	{
		Error_Handler();
	}

}

static void MX_TIM7_Init(void)
{

	TIM_MasterConfigTypeDef sMasterConfig = {0};

	htim7.Instance = TIM7;
	htim7.Init.Prescaler = 2000-1;
	htim7.Init.CounterMode = TIM_COUNTERMODE_UP;
	htim7.Init.Period = 10000-1;
	htim7.Init.AutoReloadPreload = TIM_AUTORELOAD_PRELOAD_DISABLE;
	if (HAL_TIM_Base_Init(&htim7) != HAL_OK)
	{
		Error_Handler();
	}
	sMasterConfig.MasterOutputTrigger = TIM_TRGO_RESET;
	sMasterConfig.MasterSlaveMode = TIM_MASTERSLAVEMODE_DISABLE;
	if (HAL_TIMEx_MasterConfigSynchronization(&htim7, &sMasterConfig) != HAL_OK)
	{
		Error_Handler();
	}

}

static void MX_TIM9_Init(void)
{

	TIM_ClockConfigTypeDef sClockSourceConfig = {0};

	htim9.Instance = TIM9;
	htim9.Init.Prescaler = 20-1;
	htim9.Init.CounterMode = TIM_COUNTERMODE_UP;
	htim9.Init.Period = 50000-1;
	htim9.Init.ClockDivision = TIM_CLOCKDIVISION_DIV1;
	htim9.Init.AutoReloadPreload = TIM_AUTORELOAD_PRELOAD_DISABLE;
	if (HAL_TIM_Base_Init(&htim9) != HAL_OK)
	{
		Error_Handler();
	}
	sClockSourceConfig.ClockSource = TIM_CLOCKSOURCE_INTERNAL;
	if (HAL_TIM_ConfigClockSource(&htim9, &sClockSourceConfig) != HAL_OK)
	{
		Error_Handler();
	}

}

static void MX_TIM12_Init(void)
{

	TIM_OC_InitTypeDef sConfigOC = {0};

	htim12.Instance = TIM12;
	htim12.Init.Prescaler = 2-1;
	htim12.Init.CounterMode = TIM_COUNTERMODE_UP;
	htim12.Init.Period = 100-1;
	htim12.Init.ClockDivision = TIM_CLOCKDIVISION_DIV1;
	htim12.Init.AutoReloadPreload = TIM_AUTORELOAD_PRELOAD_DISABLE;
	if (HAL_TIM_PWM_Init(&htim12) != HAL_OK)
	{
		Error_Handler();
	}
	sConfigOC.OCMode = TIM_OCMODE_PWM1;
	sConfigOC.Pulse = 0;
	sConfigOC.OCPolarity = TIM_OCPOLARITY_HIGH;
	sConfigOC.OCFastMode = TIM_OCFAST_DISABLE;
	if (HAL_TIM_PWM_ConfigChannel(&htim12, &sConfigOC, TIM_CHANNEL_1) != HAL_OK)
	{
		Error_Handler();
	}
	HAL_TIM_MspPostInit(&htim12);

}

static void MX_UART5_Init(void)
{

	huart5.Instance = UART5;
	huart5.Init.BaudRate = 9600;
	huart5.Init.WordLength = UART_WORDLENGTH_8B;
	huart5.Init.StopBits = UART_STOPBITS_1;
	huart5.Init.Parity = UART_PARITY_NONE;
	huart5.Init.Mode = UART_MODE_TX_RX;
	huart5.Init.HwFlowCtl = UART_HWCONTROL_NONE;
	huart5.Init.OverSampling = UART_OVERSAMPLING_16;
	if (HAL_UART_Init(&huart5) != HAL_OK)
	{
		Error_Handler();
	}

}

static void MX_USART2_UART_Init(void)
{

	huart2.Instance = USART2;
	huart2.Init.BaudRate = 115200;
	huart2.Init.WordLength = UART_WORDLENGTH_8B;
	huart2.Init.StopBits = UART_STOPBITS_1;
	huart2.Init.Parity = UART_PARITY_NONE;
	huart2.Init.Mode = UART_MODE_TX_RX;
	huart2.Init.HwFlowCtl = UART_HWCONTROL_NONE;
	huart2.Init.OverSampling = UART_OVERSAMPLING_16;
	if (HAL_UART_Init(&huart2) != HAL_OK)
	{
		Error_Handler();
	}

}

static void MX_GPIO_Init(void)
{
	GPIO_InitTypeDef GPIO_InitStruct = {0};

	/* GPIO Ports Clock Enable */
	__HAL_RCC_GPIOC_CLK_ENABLE();
	__HAL_RCC_GPIOA_CLK_ENABLE();
	__HAL_RCC_GPIOB_CLK_ENABLE();
	__HAL_RCC_GPIOD_CLK_ENABLE();

	/*Configure GPIO pin Output Level */
	HAL_GPIO_WritePin(GPIOC, RELAY_Pin|DOOR_CMD_Pin, GPIO_PIN_RESET);

	/*Configure GPIO pin Output Level */
	HAL_GPIO_WritePin(HEATER_GPIO_Port, HEATER_Pin, GPIO_PIN_RESET);

	/*Configure GPIO pin : DOOR_RIGHT_LATCH_Pin */
	GPIO_InitStruct.Pin = DOOR_RIGHT_LATCH_Pin;
	GPIO_InitStruct.Mode = GPIO_MODE_INPUT;
	GPIO_InitStruct.Pull = GPIO_NOPULL;
	HAL_GPIO_Init(DOOR_RIGHT_LATCH_GPIO_Port, &GPIO_InitStruct);

	/*Configure GPIO pin : DOOR_LEFT_LATCH_Pin */
	GPIO_InitStruct.Pin = DOOR_LEFT_LATCH_Pin;
	GPIO_InitStruct.Mode = GPIO_MODE_INPUT;
	GPIO_InitStruct.Pull = GPIO_NOPULL;
	HAL_GPIO_Init(DOOR_LEFT_LATCH_GPIO_Port, &GPIO_InitStruct);

	/*Configure GPIO pins : RELAY_Pin DOOR_CMD_Pin */
	GPIO_InitStruct.Pin = RELAY_Pin|DOOR_CMD_Pin;
	GPIO_InitStruct.Mode = GPIO_MODE_OUTPUT_PP;
	GPIO_InitStruct.Pull = GPIO_NOPULL;
	GPIO_InitStruct.Speed = GPIO_SPEED_FREQ_LOW;
	HAL_GPIO_Init(GPIOC, &GPIO_InitStruct);

	/*Configure GPIO pin : HEATER_Pin */
	GPIO_InitStruct.Pin = HEATER_Pin;
	GPIO_InitStruct.Mode = GPIO_MODE_OUTPUT_PP;
	GPIO_InitStruct.Pull = GPIO_NOPULL;
	GPIO_InitStruct.Speed = GPIO_SPEED_FREQ_LOW;
	HAL_GPIO_Init(HEATER_GPIO_Port, &GPIO_InitStruct);

}

/* USER CODE BEGIN 4 */
void update_last_watchdog_time(){
	last_watchdog_time = var_timer_4_tick;
}

/**
 * @brief Callback called after a period of a timer
 */
void HAL_TIM_PeriodElapsedCallback(TIM_HandleTypeDef *htim)
{
	if(htim->Instance == TIM4)
	{

		//each
		if(var_timer_4_tick % TWO == ZERO) // each 2s
		{
			send_messages = true;

			if(last_watchdog_time > var_timer_4_tick)
			{ // Clock overflow

				last_watchdog_time = ZERO;
			}
			if(var_timer_4_tick - last_watchdog_time > WATCHDOG_TIME)
			{

				watchdog_actived = true;
			}
		}

		//I2C
		if(get_i2c_values == false && var_timer_9_tick == ZERO) get_i2c_values = true;

		//SGP41
		if(sgp41_timer_init < SGP41_CONDITIONNING_TIME) sgp41_tick = true;

		var_timer_4_tick += 1;
	}

	//each second : DOOR
	if(htim->Instance == TIM7)
	{
		var_timer_7_tick += 1;
	}

	//each millisecond : current
	if(htim->Instance == TIM6)
	{
		//		measure_current = true;
	}

	//each 10ms : lights
	if(htim->Instance == TIM5 && !static_light)
	{
		fade_on = true;
	}

	//each 50ms : I2C
	if(htim->Instance == TIM9)
	{
		var_timer_9_tick = true;
	}
}

/**
 * @brief Callback used when received a message (full buffer)
 */
void HAL_UART_RxCpltCallback(UART_HandleTypeDef *huart)
{

	if(huart->Instance == USART2)
	{
		uart2_irq_is_captured = true;
	}

	else if(huart->Instance == UART5)
	{
		uart5_irq_is_captured = true;
	}
}

void HAL_TIM_IC_CaptureCallback(TIM_HandleTypeDef *htim)
{
	if(htim -> Channel == HAL_TIM_ACTIVE_CHANNEL_1) // Tachymeter channel
	{
		if(is_first_captured_cooling == 0)
		{
			ic_val1_cooling = HAL_TIM_ReadCapturedValue(htim, TIM_CHANNEL_1);
			is_first_captured_cooling = 1;
		}
		else
		{
			ic_val2_cooling = HAL_TIM_ReadCapturedValue(htim, TIM_CHANNEL_1);
			if (ic_val2_cooling > ic_val1_cooling) {
				difference_cooling = ic_val2_cooling - ic_val1_cooling;
			} else if (ic_val1_cooling > ic_val2_cooling) {
				difference_cooling = (0xffffffff - ic_val1_cooling) + ic_val2_cooling;
			}

			float refClock = TIMCLOCK/PRESCALER;

			cooling_frq = refClock/difference_cooling;

			__HAL_TIM_SET_COUNTER(htim, 0);
			is_first_captured_cooling = 0;
		}
	}
}
/* USER CODE END 4 */

void Error_Handler(void)
{
	__disable_irq();
	while (1)
	{
	}
}

/************************ (C) COPYRIGHT STMicroelectronics *****END OF FILE****/
